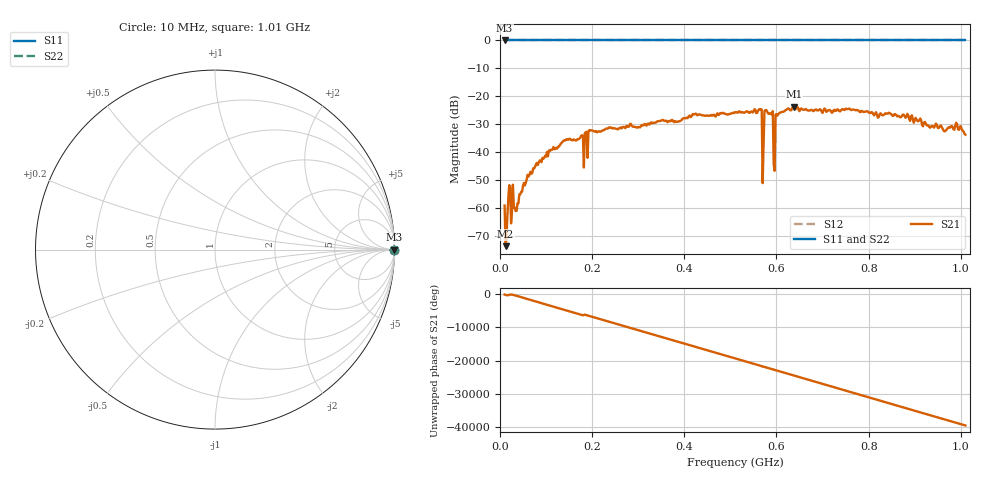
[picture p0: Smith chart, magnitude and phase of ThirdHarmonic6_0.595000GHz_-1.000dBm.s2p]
! 8/15/2025 7:22:18 PM
! C:\ANRITSUVNA\TEMP\TEMP.S2P
! CHANNEL.1
! TR.MEASUREMENT
! RAW.DATA
! RF.CORRECTION.OFF
! AVERAGING.OFF
! IF.BANDWIDTH: 5KHZ
! SWEEPTYPE:  FREQ.SWEEP(Linear)
! Reference Plane Port Info
! PORT:  PORT1  PORT2
! DISTANCE:  0  m  0  m
! TIME:  0  s  0  s
! PHASE.OFFSET:  0  deg.  0  deg.
! LOSS:  0  dB  0  dB
! REF.LOSS:  0  dB  0  dB
! REF.FREQ:  0  Hz  0  Hz
! Power Info
! POWER:  -20  dBm  -20  dBm
! EFF.POWER:  -20  dBm  -20  dBm
! SOURCE.ATTEN:  0  dB  0  dB
! TEST.ATTEN:  0  dB  0  dB
# GHZ S RI R 50.0
! FREQ.GHZ  S11RE  S11IM  S21RE  S21IM  S12RE  S12IM  S22RE  S22IM
!; PortSelection: Port_12
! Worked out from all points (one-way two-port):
!   501 points, 10 MHz to 1.01 GHz, reference 50 ohm
!   highest |S21| = -23.67 dB at 638 MHz (marker M1); lowest = -73.5 dB at 12 MHz (marker M2)
!   lowest |S11| = 0.0 dB at 10 MHz (marker M3)
!   |S11| at or under -10 dB: nowhere
!   |S22| runs from 0.0 to 0.0 dB; largest |S21 - S12| = 1.1
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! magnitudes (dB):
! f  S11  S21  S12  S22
! 10 MHz  0.0  -59.0  0.0  0.0
! 12 MHz  0.0  -73.5  0.0  0.0
! 24 MHz  0.0  -65.4  0.0  0.0
! 36 MHz  0.0  -60.9  0.0  0.0
! 82 MHz  0.0  -44.5  0.0  0.0
! 142 MHz  0.0  -35.7  0.0  0.0
! 178 MHz  0.0  -33.9  0.0  0.0
! 196 MHz  0.0  -32.2  0.0  0.0
! 344 MHz  0.0  -28.9  0.0  0.0
! 510 MHz  0.0  -25.7  0.0  0.0
! 564 MHz  0.0  -24.8  0.0  0.0
! 568 MHz  0.0  -24.7  0.0  0.0
! 574 MHz  0.0  -25.2  0.0  0.0
! 578 MHz  0.0  -24.9  0.0  0.0
! 588 MHz  0.0  -26.0  0.0  0.0
! 592 MHz  0.0  -25.3  0.0  0.0
! 598 MHz  0.0  -26.5  0.0  0.0
! 602 MHz  0.0  -26.9  0.0  0.0
! 638 MHz  0.0  -23.7  0.0  0.0
! 678 MHz  0.0  -25.0  0.0  0.0
! 844 MHz  0.0  -25.8  0.0  0.0
! 1.01 GHz  0.0  -33.7  0.0  0.0
